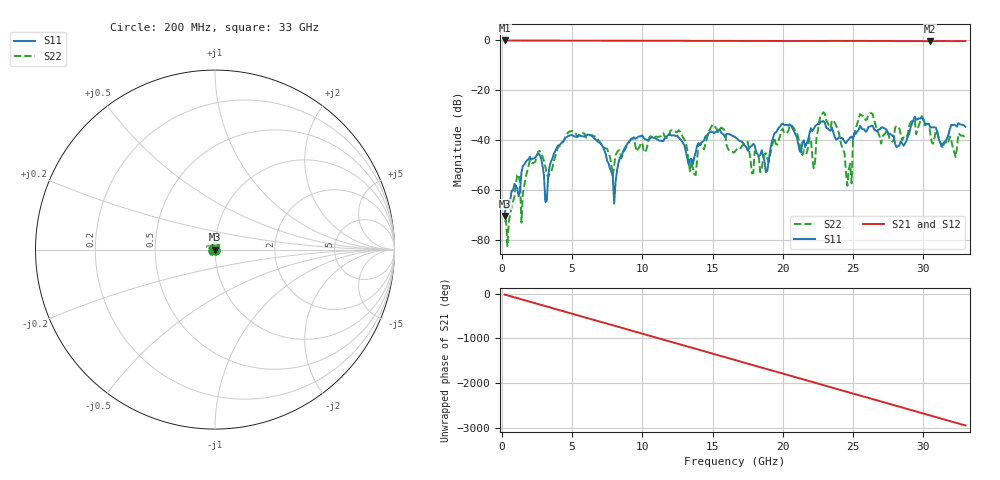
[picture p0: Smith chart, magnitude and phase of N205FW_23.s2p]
# GHZ S RI R 50
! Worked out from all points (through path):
!   329 points, 200 MHz to 33 GHz, reference 50 ohm
!   highest |S21| = -0.02 dB at 200 MHz (marker M1); lowest = -0.3 dB at 30.5 GHz (marker M2)
!   group delay of S21, straight-line fit = 248 ps
!   lowest |S11| = -70.3 dB at 200 MHz (marker M3), VSWR 1.00, Z = 50 + j0.000116 ohm
!   |S11| at or under -10 dB: start of sweep to end of sweep
!   |S22| runs from -82.4 to -28.7 dB; largest |S21 - S12| = 0.0022
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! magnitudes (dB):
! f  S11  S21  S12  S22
! 200 MHz  -70.3  0.0  0.0  -72.6
! 1.2 GHz  -62.3  -0.1  -0.1  -53.6
! 1.4 GHz  -52.6  -0.1  -0.1  -72.9
! 2 GHz  -46.6  -0.1  -0.1  -47.9
! 2.8 GHz  -47.2  -0.1  -0.1  -45.0
! 3.1 GHz  -64.7  -0.1  -0.1  -50.6
! 4 GHz  -42.1  -0.1  -0.1  -42.6
! 5.7 GHz  -38.4  -0.1  -0.1  -37.2
! 7.2 GHz  -42.6  -0.1  -0.1  -42.3
! 8 GHz  -65.3  -0.1  -0.1  -50.0
! 8.9 GHz  -41.7  -0.1  -0.1  -42.1
! 11.2 GHz  -40.1  -0.2  -0.2  -38.6
! 16.6 GHz  -38.6  -0.2  -0.2  -44.5
! 18.8 GHz  -52.7  -0.2  -0.2  -45.2
! 19.9 GHz  -33.7  -0.2  -0.2  -36.0
! 22.1 GHz  -36.3  -0.2  -0.2  -46.3
! 22.9 GHz  -32.3  -0.2  -0.2  -28.7
! 24.6 GHz  -40.1  -0.2  -0.2  -58.2
! 25.5 GHz  -34.2  -0.2  -0.2  -29.5
! 27.6 GHz  -37.3  -0.2  -0.2  -39.3
! 30.5 GHz  -34.8  -0.3  -0.3  -37.2
! 33 GHz  -34.5  -0.2  -0.2  -37.8
